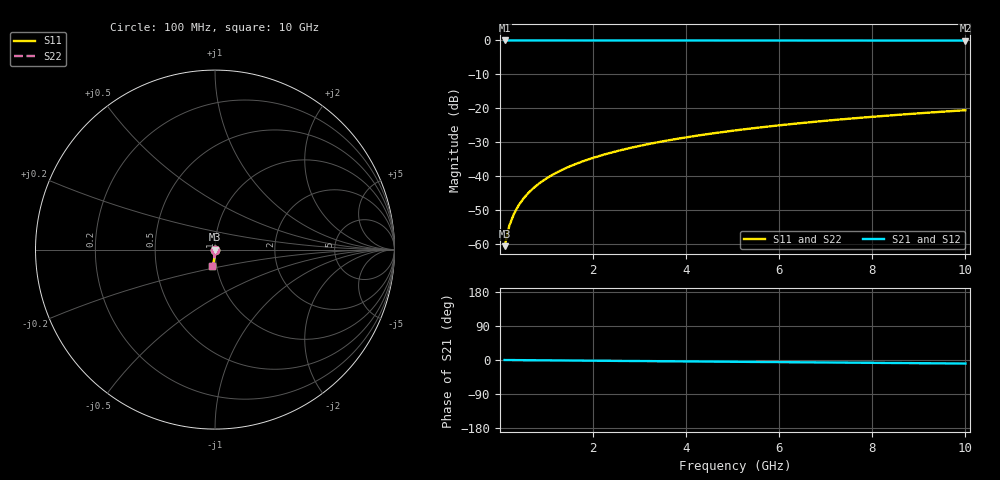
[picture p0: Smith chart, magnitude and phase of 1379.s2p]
# Hz S RI R 50.00
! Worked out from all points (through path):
!   100 points, 100 MHz to 10 GHz, reference 50 ohm
!   highest |S21| = 0.00 dB at 100 MHz (marker M1); lowest = 0.0 dB at 10 GHz (marker M2)
!   group delay of S21, straight-line fit = 2.59 ps
!   lowest |S11| = -60.6 dB at 100 MHz (marker M3), VSWR 1.00, Z = 50 - j0.093 ohm
!   |S11| at or under -10 dB: start of sweep to end of sweep
!   |S22| runs from -60.6 to -20.5 dB; largest |S21 - S12| = 0
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1e8  9.33e-05 -0.00093  0.9999 -0.00161  0.9999 -0.00161  9.33e-05 -0.00093
2e8  8.82e-05 -0.00186  0.9999 -0.00321  0.9999 -0.00321  8.82e-05 -0.00186
3e8  8e-05 -0.00279  0.9999 -0.00482  0.9999 -0.00482  8e-05 -0.00279
4e8  6.87e-05 -0.00372  0.9999 -0.00642  0.9999 -0.00642  6.87e-05 -0.00372
5e8  5.44e-05 -0.00465  0.9999 -0.00803  0.9999 -0.00803  5.44e-05 -0.00465
6e8  3.7e-05 -0.00558  0.9998 -0.00963  0.9998 -0.00963  3.7e-05 -0.00558
7e8  1.67e-05 -0.00651  0.9998 -0.0112  0.9998 -0.0112  1.67e-05 -0.00651
8e8  -6.74e-06 -0.00744  0.9998 -0.0128  0.9998 -0.0128  -6.74e-06 -0.00744
9e8  -3.32e-05 -0.00837  0.9997 -0.0145  0.9997 -0.0145  -3.32e-05 -0.00837
1.1e9  -9.5e-05 -0.0102  0.9997 -0.0177  0.9997 -0.0177  -9.5e-05 -0.0102
1.4e9  -0.00021 -0.013  0.9995 -0.0225  0.9995 -0.0225  -0.00021 -0.013
1.8e9  -0.000407 -0.0168  0.9993 -0.0289  0.9993 -0.0289  -0.000407 -0.0168
2.1e9  -0.000586 -0.0196  0.9991 -0.0338  0.9991 -0.0338  -0.000586 -0.0196
2.5e9  -0.000867 -0.0233  0.9988 -0.0402  0.9988 -0.0402  -0.000867 -0.0233
2.9e9  -0.0012 -0.027  0.9984 -0.0467  0.9984 -0.0467  -0.0012 -0.027
3.4e9  -0.00168 -0.0317  0.9978 -0.0547  0.9978 -0.0547  -0.00168 -0.0317
4.2e9  -0.00261 -0.0392  0.9968 -0.0677  0.9968 -0.0677  -0.00261 -0.0392
5.1e9  -0.00389 -0.0476  0.9953 -0.0823  0.9953 -0.0823  -0.00389 -0.0476
5.9e9  -0.00524 -0.055  0.9937 -0.0952  0.9937 -0.0952  -0.00524 -0.055
6.7e9  -0.00679 -0.0625  0.992 -0.1082  0.992 -0.1082  -0.00679 -0.0625
8.4e9  -0.0107 -0.0781  0.9874 -0.1356  0.9874 -0.1356  -0.0107 -0.0781
1e10  -0.0152 -0.0926  0.9822 -0.1614  0.9822 -0.1614  -0.0152 -0.0926
